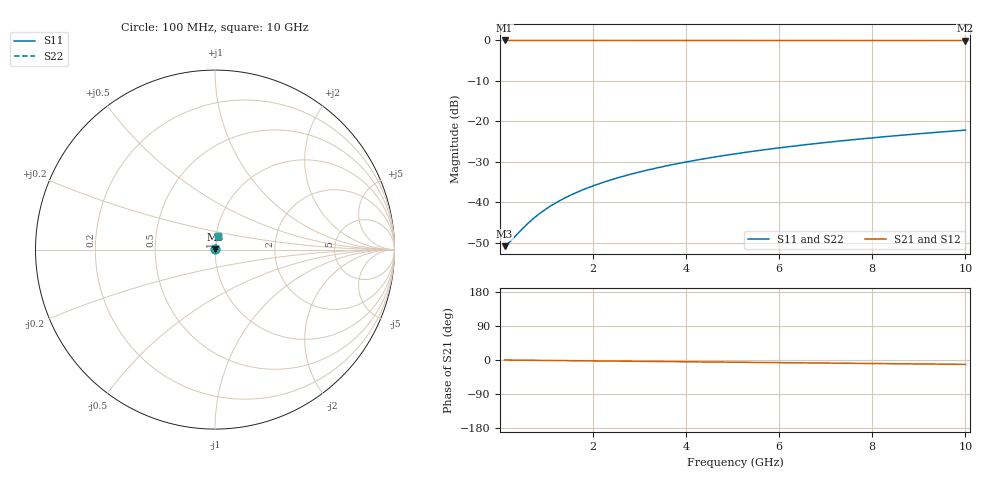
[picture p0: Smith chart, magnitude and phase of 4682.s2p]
# Hz S RI R 50.00
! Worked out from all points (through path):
!   100 points, 100 MHz to 10 GHz, reference 50 ohm
!   highest |S21| = -0.02 dB at 100 MHz (marker M1); lowest = -0.1 dB at 10 GHz (marker M2)
!   group delay of S21, straight-line fit = 3.22 ps
!   lowest |S11| = -50.8 dB at 100 MHz (marker M3), VSWR 1.01, Z = 50.3 + j0.0784 ohm
!   |S11| at or under -10 dB: start of sweep to end of sweep
!   |S22| runs from -50.8 to -22.2 dB; largest |S21 - S12| = 0
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1e8  0.00277 0.000779  0.9972 -0.00202  0.9972 -0.00202  0.00277 0.000779
2e8  0.00279 0.00156  0.9972 -0.00403  0.9972 -0.00403  0.00279 0.00156
5e8  0.00285 0.0039  0.9971 -0.0101  0.9971 -0.0101  0.00285 0.0039
6e8  0.00288 0.00467  0.9971 -0.0121  0.9971 -0.0121  0.00288 0.00467
7e8  0.00291 0.00545  0.997 -0.0141  0.997 -0.0141  0.00291 0.00545
9e8  0.00297 0.00701  0.997 -0.0181  0.997 -0.0181  0.00297 0.00701
1.1e9  0.00304 0.00857  0.9969 -0.0222  0.9969 -0.0222  0.00304 0.00857
1.3e9  0.00313 0.0101  0.9967 -0.0262  0.9967 -0.0262  0.00313 0.0101
1.5e9  0.00322 0.0117  0.9966 -0.0302  0.9966 -0.0302  0.00322 0.0117
1.8e9  0.00339 0.014  0.9963 -0.0363  0.9963 -0.0363  0.00339 0.014
2.1e9  0.00359 0.0163  0.996 -0.0423  0.996 -0.0423  0.00359 0.0163
2.5e9  0.00389 0.0194  0.9956 -0.0504  0.9956 -0.0504  0.00389 0.0194
2.9e9  0.00424 0.0225  0.9951 -0.0584  0.9951 -0.0584  0.00424 0.0225
3.4e9  0.00475 0.0264  0.9943 -0.0685  0.9943 -0.0685  0.00475 0.0264
3.8e9  0.00521 0.0295  0.9936 -0.0765  0.9936 -0.0765  0.00521 0.0295
4.2e9  0.00572 0.0325  0.9929 -0.0845  0.9929 -0.0845  0.00572 0.0325
5.1e9  0.00706 0.0394  0.9909 -0.1026  0.9909 -0.1026  0.00706 0.0394
5.9e9  0.00845 0.0455  0.9888 -0.1185  0.9888 -0.1185  0.00845 0.0455
6.7e9  0.01 0.0515  0.9864 -0.1345  0.9864 -0.1345  0.01 0.0515
7.5e9  0.0118 0.0575  0.9838 -0.1504  0.9838 -0.1504  0.0118 0.0575
8.4e9  0.0141 0.0641  0.9804 -0.1681  0.9804 -0.1681  0.0141 0.0641
1e10  0.0186 0.0756  0.9736 -0.1995  0.9736 -0.1995  0.0186 0.0756
